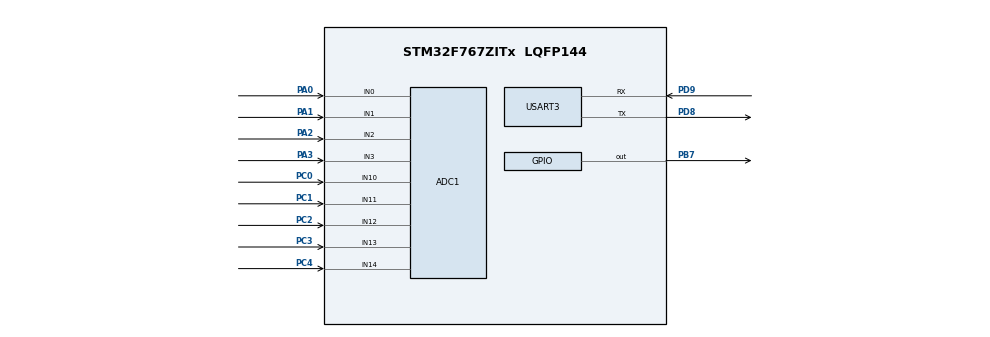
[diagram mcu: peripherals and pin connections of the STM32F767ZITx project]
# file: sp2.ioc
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ADC1.Channel-0\#ChannelRegularConversion=ADC_CHANNEL_0
ADC1.Channel-1\#ChannelRegularConversion=ADC_CHANNEL_0
ADC1.Channel-2\#ChannelRegularConversion=ADC_CHANNEL_0
ADC1.Channel-3\#ChannelRegularConversion=ADC_CHANNEL_0
ADC1.Channel-4\#ChannelRegularConversion=ADC_CHANNEL_10
ADC1.Channel-5\#ChannelRegularConversion=ADC_CHANNEL_10
ADC1.Channel-6\#ChannelRegularConversion=ADC_CHANNEL_10
ADC1.Channel-7\#ChannelRegularConversion=ADC_CHANNEL_10
ADC1.ClockPrescaler=ADC_CLOCK_SYNC_PCLK_DIV8
ADC1.ContinuousConvMode=ENABLE
ADC1.DMAContinuousRequests=ENABLE
ADC1.EOCSelection=ADC_EOC_SINGLE_CONV
ADC1.NbrOfConversion=8
ADC1.NbrOfConversionFlag=1
ADC1.Rank-1\#ChannelRegularConversion=2
ADC1.Rank-2\#ChannelRegularConversion=3
ADC1.Rank-3\#ChannelRegularConversion=4
ADC1.Rank-4\#ChannelRegularConversion=5
ADC1.Rank-5\#ChannelRegularConversion=6
ADC1.Rank-6\#ChannelRegularConversion=7
ADC1.Rank-7\#ChannelRegularConversion=8
ADC1.SamplingTime-0\#ChannelRegularConversion=ADC_SAMPLETIME_15CYCLES
ADC1.SamplingTime-1\#ChannelRegularConversion=ADC_SAMPLETIME_15CYCLES
ADC1.SamplingTime-2\#ChannelRegularConversion=ADC_SAMPLETIME_15CYCLES
ADC1.SamplingTime-3\#ChannelRegularConversion=ADC_SAMPLETIME_15CYCLES
ADC1.SamplingTime-4\#ChannelRegularConversion=ADC_SAMPLETIME_3CYCLES
ADC1.SamplingTime-5\#ChannelRegularConversion=ADC_SAMPLETIME_3CYCLES
ADC1.SamplingTime-6\#ChannelRegularConversion=ADC_SAMPLETIME_3CYCLES
ADC1.SamplingTime-7\#ChannelRegularConversion=ADC_SAMPLETIME_3CYCLES
ADC1.master=1
CORTEX_M7.default_mode_Activation=1
Dma.ADC1.1.Direction=DMA_PERIPH_TO_MEMORY
Dma.ADC1.1.FIFOMode=DMA_FIFOMODE_DISABLE
Dma.ADC1.1.Instance=DMA2_Stream0
Dma.ADC1.1.MemDataAlignment=DMA_MDATAALIGN_WORD
Dma.ADC1.1.MemInc=DMA_MINC_ENABLE
Dma.ADC1.1.Mode=DMA_CIRCULAR
Dma.ADC1.1.PeriphDataAlignment=DMA_PDATAALIGN_WORD
Dma.ADC1.1.PeriphInc=DMA_PINC_DISABLE
Dma.ADC1.1.Priority=DMA_PRIORITY_LOW
Dma.Request0=USART3_TX
Dma.Request1=ADC1
Dma.USART3_TX.0.Direction=DMA_MEMORY_TO_PERIPH
Dma.USART3_TX.0.FIFOMode=DMA_FIFOMODE_DISABLE
Dma.USART3_TX.0.Instance=DMA1_Stream3
Dma.USART3_TX.0.MemDataAlignment=DMA_MDATAALIGN_BYTE
Dma.USART3_TX.0.MemInc=DMA_MINC_ENABLE
Dma.USART3_TX.0.Mode=DMA_NORMAL
Dma.USART3_TX.0.PeriphDataAlignment=DMA_PDATAALIGN_BYTE
Dma.USART3_TX.0.PeriphInc=DMA_PINC_DISABLE
Dma.USART3_TX.0.Priority=DMA_PRIORITY_LOW
Mcu.Family=STM32F7
Mcu.Name=STM32F767ZITx
Mcu.Package=LQFP144
NVIC.DMA1_Stream3_IRQn=true\:0\:0\:false\:false\:true\:false\:true\:true
NVIC.DMA2_Stream0_IRQn=true\:1\:0\:true\:false\:true\:false\:true\:true
NVIC.PriorityGroup=NVIC_PRIORITYGROUP_2
NVIC.USART3_IRQn=true\:0\:0\:false\:false\:true\:true\:true\:true
PA0/WKUP.Signal=ADCx_IN0
PA1.Signal=ADCx_IN1
PA2.Signal=ADCx_IN2
PA3.Signal=ADCx_IN3
PB7.Signal=GPIO_Output
PC0.Signal=ADCx_IN10
PC1.Signal=ADCx_IN11
PC2.Signal=ADCx_IN12
PC3.Signal=ADCx_IN13
PC4.Signal=ADCx_IN14
PD8.Mode=Asynchronous
PD8.Signal=USART3_TX
PD9.Mode=Asynchronous
PD9.Signal=USART3_RX
ProjectManager.HeapSize=0x200
ProjectManager.StackSize=0x400
ProjectManager.TargetToolchain=STM32CubeIDE
RCC.HSE_VALUE=25000000
RCC.HSI_VALUE=16000000
RCC.LSE_VALUE=32768
RCC.USBFreq_Value=96000000
RCC.VCOOutputFreq_Value=192000000
SH.ADCx_IN0.0=ADC1_IN0,IN0
SH.ADCx_IN1.0=ADC1_IN1,IN1
SH.ADCx_IN10.0=ADC1_IN10,IN10
SH.ADCx_IN11.0=ADC1_IN11,IN11
SH.ADCx_IN12.0=ADC1_IN12,IN12
SH.ADCx_IN13.0=ADC1_IN13,IN13
SH.ADCx_IN14.0=ADC1_IN14,IN14
SH.ADCx_IN2.0=ADC1_IN2,IN2
SH.ADCx_IN3.0=ADC1_IN3,IN3
USART3.VirtualMode-Asynchronous=VM_ASYNC
board=custom

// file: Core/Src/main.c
/* USER CODE BEGIN Header */
/**
  ******************************************************************************
  * @file           : main.c
  * @brief          : Main program body
  ******************************************************************************
  * @attention
  *
  * Copyright (c) 2025 STMicroelectronics.
  * All rights reserved.
  *
  * This software is licensed under terms that can be found in the LICENSE file
  * in the root directory of this software component.
  * If no LICENSE file comes with this software, it is provided AS-IS.
  *
  ******************************************************************************
  */
/* USER CODE END Header */
#include "main.h"

/* USER CODE BEGIN Includes */
#include <stdbool.h>
#include "string.h"
#include "stdio.h"
/* USER CODE END Includes */

/* USER CODE BEGIN PTD */
//uint32_t adcValue1 = 0, adcValue2 = 0, adcValue3 = 0, adcValue4 = 0;
uint32_t adcValue[4];
char transmit[200];
uint32_t avr_8;

uint8_t convCompleted = 0;
uint16_t vr1 = 0;
uint16_t vr2 = 0;
uint8_t State = 0;

uint32_t val_adc[8];
bool data_changed = false;
/* USER CODE END PTD */

ADC_HandleTypeDef hadc1;
DMA_HandleTypeDef hdma_adc1;

UART_HandleTypeDef huart3;
DMA_HandleTypeDef hdma_usart3_tx;

void SystemClock_Config(void);
static void MPU_Config(void);
static void MX_GPIO_Init(void);
static void MX_DMA_Init(void);
static void MX_ADC1_Init(void);
static void MX_USART3_UART_Init(void);
/* USER CODE BEGIN PFP */
//void process_ADC_data(uint32_t *buffer, uint16_t size);
//bool check_data_change(uint32_t *buffer, uint16_t samples);
/* USER CODE END PFP */

/* USER CODE BEGIN 0 */
void ADC_Init(void) {
    HAL_ADC_Start_DMA(&hadc1, (uint32_t*)val_adc, 8);
}
void HAL_ADC_ConvHalfCpltCallback(ADC_HandleTypeDef *hadc) {
    if (hadc->Instance == ADC1) {
    	State = 1;

//    	sprintf(tx_msg, "Vr1: %hu \t\t%hu\r\n", vr1, vr2);
//    	sprintf(tx_msg,"Ch1= %d Ch2= %d Ch3= %d Ch4= %d Ch5= %d Ch6= %d Ch7= %d Ch8= %d LED = ON\r\n",last_adc_values[0],last_adc_values[1],last_adc_values[2],last_adc_values[3],last_adc_values[4],last_adc_values[5],vallast_adc_values_adc[6],last_adc_values[7]);
//    	HAL_UART_Transmit(&huart3, (uint8_t*)tx_msg, sizeof(tx_msg), HAL_MAX_DELAY);
        HAL_GPIO_WritePin(GPIOB, GPIO_PIN_7, GPIO_PIN_RESET);
//        HAL_Delay(500);
    }
}

void HAL_ADC_ConvCpltCallback(ADC_HandleTypeDef *hadc) {
    if (hadc->Instance == ADC1) {
    	State = 0;
//    	sprintf(tx_msg,"Ch1= %d Ch2= %d Ch3= %d Ch4= %d Ch5= %d Ch6= %d Ch7= %d Ch8= %d LED = OFF\r\n",last_adc_values[0],last_adc_values[1],last_adc_values[2],last_adc_values[3],last_adc_values[4],last_adc_values[5],vallast_adc_values_adc[6],last_adc_values[7]);
//		HAL_UART_Transmit(&huart3, (uint8_t*)tx_msg, sizeof(tx_msg), HAL_MAX_DELAY);
//		HAL_GPIO_WritePin(GPIOB, GPIO_PIN_7, GPIO_PIN_RESET);
        HAL_GPIO_WritePin(GPIOB, GPIO_PIN_7, GPIO_PIN_SET);
//        HAL_Delay(500);
    }
}

int avrage_8(int x){
	static int samples[8];
	static int i = 0;
	static total = 0;

	total += x - samples[i];
	samples[i] = x;
	i = (i==7 ? 0 : i+1);
	return total>>3;
}

/* USER CODE END 0 */

int main(void)
{

  /* MPU Configuration--------------------------------------------------------*/
  MPU_Config();

  /* MCU Configuration--------------------------------------------------------*/

  /* Reset of all peripherals, Initializes the Flash interface and the Systick. */
  HAL_Init();

  /* Configure the system clock */
  SystemClock_Config();

  /* Initialize all configured peripherals */
  MX_GPIO_Init();
  MX_DMA_Init();
  MX_ADC1_Init();
  MX_USART3_UART_Init();
  /* USER CODE BEGIN 2 */

//  HAL_ADC_Start(&hadc1);
  ADC_Init();
//  printf("ADC Value");

  /* USER CODE END 2 */

  /* Infinite loop */
  while (1)
  {

    /* USER CODE BEGIN 3 */
	  if (State == 1){
	  		  memset(transmit,0,sizeof(transmit));
	  		  sprintf(transmit,"Ch1= %d Ch2= %d Ch3= %d Ch4= %d Ch5= %d Ch6= %d Ch7= %d Ch8= %d LED = ON\r\n",val_adc[0],val_adc[1],val_adc[2],val_adc[3],val_adc[4],val_adc[5],val_adc[6],val_adc[7]);
	  		  while(__HAL_UART_GET_FLAG(&huart3,UART_FLAG_TC)==RESET){}
	  		  HAL_UART_Transmit(&huart3, (uint32_t*)&transmit, strlen(transmit), 200);
//	  		  HAL_GPIO_WritePin(GPIOB, GPIO_PIN_7, 1);
	  		  HAL_Delay(500);
	  	}
	  	else{
	  		  memset(transmit,0,sizeof(transmit));
	  		  sprintf(transmit,"Ch1= %d Ch2= %d Ch3= %d Ch4= %d Ch5= %d Ch6= %d Ch7= %d Ch8= %d LED = OFF\r\n",val_adc[0],val_adc[1],val_adc[2],val_adc[3],val_adc[4],val_adc[5],val_adc[6],val_adc[7]);
	  		  while(__HAL_UART_GET_FLAG(&huart3,UART_FLAG_TC)==RESET){}
	  		  HAL_UART_Transmit(&huart3, (uint32_t*)&transmit, strlen(transmit), 200);
//	  		  HAL_GPIO_WritePin(GPIOB, GPIO_PIN_7, 0);
	  		  HAL_Delay(500);
	  	  }
//	  while(!convCompleted);
//	  vr1 = (uint16_t) last_adc_values[0];
//	  vr2 = (uint16_t) last_adc_values[2];
//
//	  sprintf(tx_msg, "Vr1: %hu \r\t\t", vr1);
//	  HAL_UART_Transmit(&huart3, (uint8_t*)tx_msg, sizeof(tx_msg), HAL_MAX_DELAY);
//	  sprintf(tx_msg, "Vr2: %hu \r\n", vr2);
//	  HAL_UART_Transmit(&huart3, (uint8_t*)tx_msg, sizeof(tx_msg), HAL_MAX_DELAY);
//	  HAL_Delay(1000);
	  //	  for(uint8_t i=0; i<hadc1.Init.NbrOfConversion; i++){

//	  }
//	  while (HAL_ADC_PollForConversion(&hadc1, 100) != HAL_OK){}
//	  HAL_ADC_PollForConversion(&hadc1, HAL_MAX_DELAY);
//	  adc = HAL_ADC_GetValue(&hadc1);
//	  avr_8 = avrage_8(adcValue);
//	  // Read ADC values
//	  HAL_ADC_PollForConversion(&hadc1, HAL_MAX_DELAY);
//	  adcValue1 = HAL_ADC_GetValue(&hadc1);
//
//	  // Assuming you have a second ADC channel, you would do similar for that
//	  HAL_ADC_Start(&hadc1);
//	  HAL_ADC_PollForConversion(&hadc1, HAL_MAX_DELAY);
//	  adcValue2 = HAL_ADC_GetValue(&hadc1);
//
//	  HAL_ADC_Start(&hadc1);
//	  HAL_ADC_PollForConversion(&hadc1, HAL_MAX_DELAY);
//	  adcValue3 = HAL_ADC_GetValue(&hadc1);
//
//	  HAL_ADC_Start(&hadc1);
//	  HAL_ADC_PollForConversion(&hadc1, HAL_MAX_DELAY);
//	  adcValue4 = HAL_ADC_GetValue(&hadc1);

//	  if (isADc)

	  // Print values via UART
//	  char msg[50];
//	  sprintf(msg, "ADC1 Value: %lu, ADC2 Value: %lu\r\n", adcValue1, adcValue2);
//	  HAL_UART_Transmit(&huart1, (uint8_t*)msg, strlen(msg), HAL_MAX_DELAY);

	  HAL_Delay(1000);  // Delay 1 second before the next read
  }
  /* USER CODE END 3 */
}

void SystemClock_Config(void)
{
  RCC_OscInitTypeDef RCC_OscInitStruct = {0};
  RCC_ClkInitTypeDef RCC_ClkInitStruct = {0};

  /** Configure the main internal regulator output voltage
  */
  __HAL_RCC_PWR_CLK_ENABLE();
  __HAL_PWR_VOLTAGESCALING_CONFIG(PWR_REGULATOR_VOLTAGE_SCALE3);

  /** Initializes the RCC Oscillators according to the specified parameters
  * in the RCC_OscInitTypeDef structure.
  */
  RCC_OscInitStruct.OscillatorType = RCC_OSCILLATORTYPE_HSI;
  RCC_OscInitStruct.HSIState = RCC_HSI_ON;
  RCC_OscInitStruct.HSICalibrationValue = RCC_HSICALIBRATION_DEFAULT;
  RCC_OscInitStruct.PLL.PLLState = RCC_PLL_NONE;
  if (HAL_RCC_OscConfig(&RCC_OscInitStruct) != HAL_OK)
  {
    Error_Handler();
  }

  /** Initializes the CPU, AHB and APB buses clocks
  */
  RCC_ClkInitStruct.ClockType = RCC_CLOCKTYPE_HCLK|RCC_CLOCKTYPE_SYSCLK
                              |RCC_CLOCKTYPE_PCLK1|RCC_CLOCKTYPE_PCLK2;
  RCC_ClkInitStruct.SYSCLKSource = RCC_SYSCLKSOURCE_HSI;
  RCC_ClkInitStruct.AHBCLKDivider = RCC_SYSCLK_DIV1;
  RCC_ClkInitStruct.APB1CLKDivider = RCC_HCLK_DIV1;
  RCC_ClkInitStruct.APB2CLKDivider = RCC_HCLK_DIV1;

  if (HAL_RCC_ClockConfig(&RCC_ClkInitStruct, FLASH_LATENCY_0) != HAL_OK)
  {
    Error_Handler();
  }
}

static void MX_ADC1_Init(void)
{

  ADC_ChannelConfTypeDef sConfig = {0};

  /** Configure the global features of the ADC (Clock, Resolution, Data Alignment and number of conversion)
  */
  hadc1.Instance = ADC1;
  hadc1.Init.ClockPrescaler = ADC_CLOCK_SYNC_PCLK_DIV8;
  hadc1.Init.Resolution = ADC_RESOLUTION_12B;
  hadc1.Init.ScanConvMode = ADC_SCAN_ENABLE;
  hadc1.Init.ContinuousConvMode = ENABLE;
  hadc1.Init.DiscontinuousConvMode = DISABLE;
  hadc1.Init.ExternalTrigConvEdge = ADC_EXTERNALTRIGCONVEDGE_NONE;
  hadc1.Init.ExternalTrigConv = ADC_SOFTWARE_START;
  hadc1.Init.DataAlign = ADC_DATAALIGN_RIGHT;
  hadc1.Init.NbrOfConversion = 8;
  hadc1.Init.DMAContinuousRequests = ENABLE;
  hadc1.Init.EOCSelection = ADC_EOC_SINGLE_CONV;
  if (HAL_ADC_Init(&hadc1) != HAL_OK)
  {
    Error_Handler();
  }

  /** Configure for the selected ADC regular channel its corresponding rank in the sequencer and its sample time.
  */
  sConfig.Channel = ADC_CHANNEL_0;
  sConfig.Rank = ADC_REGULAR_RANK_1;
  sConfig.SamplingTime = ADC_SAMPLETIME_15CYCLES;
  if (HAL_ADC_ConfigChannel(&hadc1, &sConfig) != HAL_OK)
  {
    Error_Handler();
  }

  /** Configure for the selected ADC regular channel its corresponding rank in the sequencer and its sample time.
  */
  sConfig.Rank = ADC_REGULAR_RANK_2;
  if (HAL_ADC_ConfigChannel(&hadc1, &sConfig) != HAL_OK)
  {
    Error_Handler();
  }

  /** Configure for the selected ADC regular channel its corresponding rank in the sequencer and its sample time.
  */
  sConfig.Rank = ADC_REGULAR_RANK_3;
  if (HAL_ADC_ConfigChannel(&hadc1, &sConfig) != HAL_OK)
  {
    Error_Handler();
  }

  /** Configure for the selected ADC regular channel its corresponding rank in the sequencer and its sample time.
  */
  sConfig.Rank = ADC_REGULAR_RANK_4;
  if (HAL_ADC_ConfigChannel(&hadc1, &sConfig) != HAL_OK)
  {
    Error_Handler();
  }

  /** Configure for the selected ADC regular channel its corresponding rank in the sequencer and its sample time.
  */
  sConfig.Channel = ADC_CHANNEL_10;
  sConfig.Rank = ADC_REGULAR_RANK_5;
  sConfig.SamplingTime = ADC_SAMPLETIME_3CYCLES;
  if (HAL_ADC_ConfigChannel(&hadc1, &sConfig) != HAL_OK)
  {
    Error_Handler();
  }

  /** Configure for the selected ADC regular channel its corresponding rank in the sequencer and its sample time.
  */
  sConfig.Rank = ADC_REGULAR_RANK_6;
  if (HAL_ADC_ConfigChannel(&hadc1, &sConfig) != HAL_OK)
  {
    Error_Handler();
  }

  /** Configure for the selected ADC regular channel its corresponding rank in the sequencer and its sample time.
  */
  sConfig.Rank = ADC_REGULAR_RANK_7;
  if (HAL_ADC_ConfigChannel(&hadc1, &sConfig) != HAL_OK)
  {
    Error_Handler();
  }

  /** Configure for the selected ADC regular channel its corresponding rank in the sequencer and its sample time.
  */
  sConfig.Rank = ADC_REGULAR_RANK_8;
  if (HAL_ADC_ConfigChannel(&hadc1, &sConfig) != HAL_OK)
  {
    Error_Handler();
  }

}

static void MX_USART3_UART_Init(void)
{

  huart3.Instance = USART3;
  huart3.Init.BaudRate = 115200;
  huart3.Init.WordLength = UART_WORDLENGTH_8B;
  huart3.Init.StopBits = UART_STOPBITS_1;
  huart3.Init.Parity = UART_PARITY_NONE;
  huart3.Init.Mode = UART_MODE_TX_RX;
  huart3.Init.HwFlowCtl = UART_HWCONTROL_NONE;
  huart3.Init.OverSampling = UART_OVERSAMPLING_16;
  huart3.Init.OneBitSampling = UART_ONE_BIT_SAMPLE_DISABLE;
  huart3.AdvancedInit.AdvFeatureInit = UART_ADVFEATURE_NO_INIT;
  if (HAL_UART_Init(&huart3) != HAL_OK)
  {
    Error_Handler();
  }

}

static void MX_DMA_Init(void)
{

  /* DMA controller clock enable */
  __HAL_RCC_DMA1_CLK_ENABLE();
  __HAL_RCC_DMA2_CLK_ENABLE();

  /* DMA interrupt init */
  /* DMA1_Stream3_IRQn interrupt configuration */
  HAL_NVIC_SetPriority(DMA1_Stream3_IRQn, 0, 0);
  HAL_NVIC_EnableIRQ(DMA1_Stream3_IRQn);
  /* DMA2_Stream0_IRQn interrupt configuration */
  HAL_NVIC_SetPriority(DMA2_Stream0_IRQn, 1, 0);
  HAL_NVIC_EnableIRQ(DMA2_Stream0_IRQn);

}

static void MX_GPIO_Init(void)
{
  GPIO_InitTypeDef GPIO_InitStruct = {0};

  /* GPIO Ports Clock Enable */
  __HAL_RCC_GPIOC_CLK_ENABLE();
  __HAL_RCC_GPIOA_CLK_ENABLE();
  __HAL_RCC_GPIOD_CLK_ENABLE();
  __HAL_RCC_GPIOB_CLK_ENABLE();

  /*Configure GPIO pin Output Level */
  HAL_GPIO_WritePin(GPIOB, GPIO_PIN_7, GPIO_PIN_RESET);

  /*Configure GPIO pin : PB7 */
  GPIO_InitStruct.Pin = GPIO_PIN_7;
  GPIO_InitStruct.Mode = GPIO_MODE_OUTPUT_PP;
  GPIO_InitStruct.Pull = GPIO_NOPULL;
  GPIO_InitStruct.Speed = GPIO_SPEED_FREQ_LOW;
  HAL_GPIO_Init(GPIOB, &GPIO_InitStruct);

}

 /* MPU Configuration */

void MPU_Config(void)
{
  MPU_Region_InitTypeDef MPU_InitStruct = {0};

  /* Disables the MPU */
  HAL_MPU_Disable();

  /** Initializes and configures the Region and the memory to be protected
  */
  MPU_InitStruct.Enable = MPU_REGION_ENABLE;
  MPU_InitStruct.Number = MPU_REGION_NUMBER0;
  MPU_InitStruct.BaseAddress = 0x0;
  MPU_InitStruct.Size = MPU_REGION_SIZE_4GB;
  MPU_InitStruct.SubRegionDisable = 0x87;
  MPU_InitStruct.TypeExtField = MPU_TEX_LEVEL0;
  MPU_InitStruct.AccessPermission = MPU_REGION_NO_ACCESS;
  MPU_InitStruct.DisableExec = MPU_INSTRUCTION_ACCESS_DISABLE;
  MPU_InitStruct.IsShareable = MPU_ACCESS_SHAREABLE;
  MPU_InitStruct.IsCacheable = MPU_ACCESS_NOT_CACHEABLE;
  MPU_InitStruct.IsBufferable = MPU_ACCESS_NOT_BUFFERABLE;

  HAL_MPU_ConfigRegion(&MPU_InitStruct);
  /* Enables the MPU */
  HAL_MPU_Enable(MPU_PRIVILEGED_DEFAULT);

}

void Error_Handler(void)
{
  __disable_irq();
  while (1)
  {
  }
}
